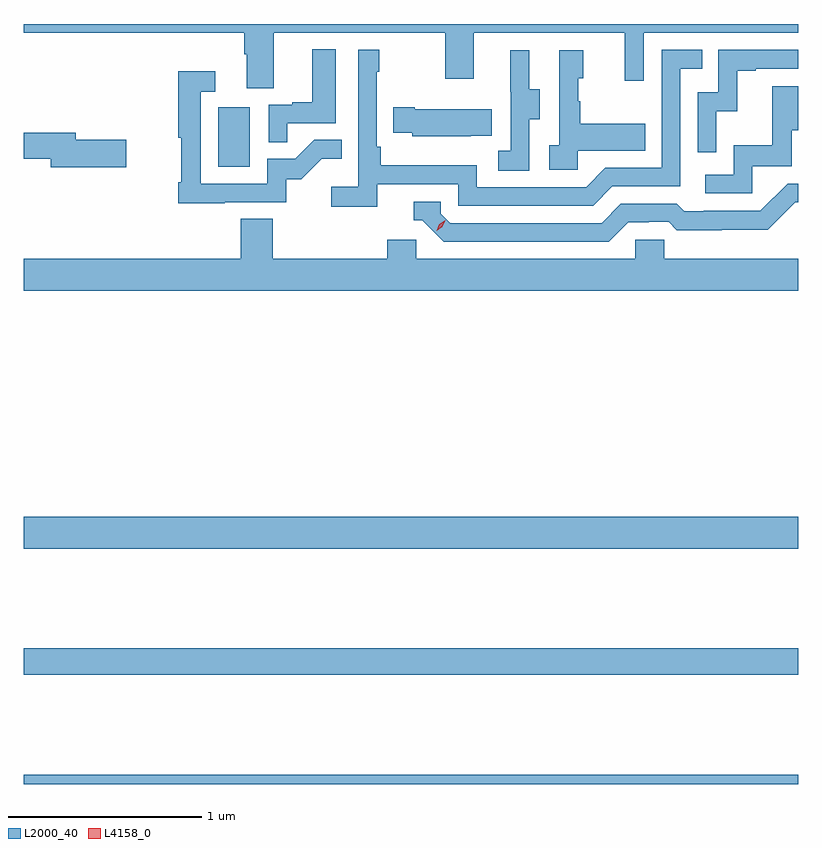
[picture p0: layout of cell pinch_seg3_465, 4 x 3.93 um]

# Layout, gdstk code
import gdstk
lib = gdstk.Library(unit=1e-6, precision=1e-09)
def R(c, l, rs):  # rectangles x0, y0, x1, y1
    for r in rs: c.add(gdstk.rectangle(r[:2], r[2:], *l))
def P(c, l, *ps):  # polygons
    for p in ps: c.add(gdstk.Polygon(p, *l))
L2000_40 = (2000, 40)
L4158_0 = (4158, 0)

pinch_seg3_465 = lib.new_cell('pinch_seg3_465')
R(pinch_seg3_465, L2000_40, [(901.134,666.4,905.134,666.448), (901.134,666.964,905.134,667.1), (901.134,667.616,905.134,667.78), (902.138,669.588,902.302,669.895)])
P(pinch_seg3_465, L2000_40, [(902.425,670.28),(903.31,670.28),(903.31,670.041),(903.457,670.041),(903.457,670.28),(904.238,670.28),(904.238,670.032),(904.335,670.032),(904.335,670.28),(905.134,670.28),(905.134,670.325),(901.134,670.325),(901.134,670.28),(902.273,670.28),(902.273,670.168),(902.285,670.168),(902.285,669.994),(902.425,669.994)],
  [(902.495,669.813),(902.746,669.813),(902.746,670.195),(902.624,670.195),(902.624,669.922),(902.521,669.922),(902.521,669.909),(902.4,669.909),(902.4,669.715),(902.495,669.715)],
  [(902.96,669.498),(903.378,669.498),(903.378,669.387),(904.075,669.387),(904.174,669.486),(904.524,669.486),(904.524,670.095),(904.637,670.095),(904.637,670.191),(904.428,670.191),(904.428,669.582),(904.137,669.582),(904.038,669.483),(903.474,669.483),(903.474,669.595),(902.978,669.595),(902.978,669.691),(902.958,669.691),(902.958,670.079),(902.971,670.079),(902.971,670.192),(902.862,670.192),(902.862,669.484),(902.721,669.484),(902.721,669.382),(902.96,669.382)],
  [(904.71,669.875),(904.82,669.875),(904.82,670.083),(904.915,670.083),(904.915,670.095),(905.134,670.095),(905.134,670.191),(904.722,670.191),(904.722,669.972),(904.614,669.972),(904.614,669.663),(904.71,669.663)],
  [(903.996,669.671),(904.343,669.671),(904.343,669.811),(904.009,669.811),(904.009,669.926),(903.999,669.926),(903.999,670.044),(904.024,670.044),(904.024,670.189),(903.9,670.189),(903.9,669.698),(903.849,669.698),(903.849,669.573),(903.996,669.573)],
  [(903.744,669.832),(903.799,669.832),(903.799,669.987),(903.745,669.987),(903.745,670.189),(903.647,670.189),(903.647,669.975),(903.648,669.975),(903.648,669.671),(903.585,669.671),(903.585,669.568),(903.744,669.568)],
  [(902.171,669.405),(902.49,669.405),(902.49,669.522),(902.566,669.522),(902.673,669.629),(902.777,669.629),(902.777,669.728),(902.634,669.728),(902.536,669.63),(902.391,669.63),(902.391,669.501),(902.049,669.501),(902.049,669.975),(902.122,669.975),(902.122,670.081),(901.933,670.081),(901.933,669.738),(901.948,669.738),(901.948,669.508),(901.933,669.508),(901.933,669.4),(902.171,669.4)],
  [(904.896,669.591),(905.101,669.591),(905.101,669.777),(905.134,669.777),(905.134,670.003),(904.999,670.003),(904.999,669.7),(904.8,669.7),(904.8,669.546),(904.653,669.546),(904.653,669.45),(904.896,669.45)],
  [(903.443,669.749),(903.551,669.749),(903.551,669.886),(903.154,669.886),(903.154,669.894),(903.043,669.894),(903.043,669.764),(903.141,669.764),(903.141,669.746),(903.443,669.746)],
  [(901.663,669.728),(901.402,669.728),(901.402,669.764),(901.134,669.764),(901.134,669.628),(901.274,669.628),(901.274,669.586),(901.663,669.586)],
  [(904.255,669.3),(904.362,669.3),(904.362,669.303),(904.465,669.303),(904.507,669.261),(904.74,669.261),(904.74,669.263),(904.976,669.263),(905.118,669.405),(905.134,669.405),(905.134,669.501),(905.079,669.501),(904.938,669.36),(904.645,669.36),(904.645,669.357),(904.546,669.357),(904.507,669.396),(904.218,669.396),(904.119,669.297),(903.336,669.297),(903.288,669.345),(903.288,669.408),(903.149,669.408),(903.149,669.312),(903.192,669.312),(903.303,669.201),(904.156,669.201)],
  [(905.134,669.112),(904.443,669.112),(904.443,669.21),(904.293,669.21),(904.293,669.112),(903.162,669.112),(903.162,669.21),(903.011,669.21),(903.011,669.112),(902.42,669.112),(902.42,669.32),(902.255,669.32),(902.255,669.112),(901.134,669.112),(901.134,668.948),(905.134,668.948)])
P(pinch_seg3_465, L4158_0, [(903.266,669.258),(903.266,669.258),(903.281,669.291),(903.311,669.311),(903.312,669.311),(903.312,669.311),(903.296,669.278),(903.266,669.258)])

lib.write_gds('pinch_seg3_465.gds')
